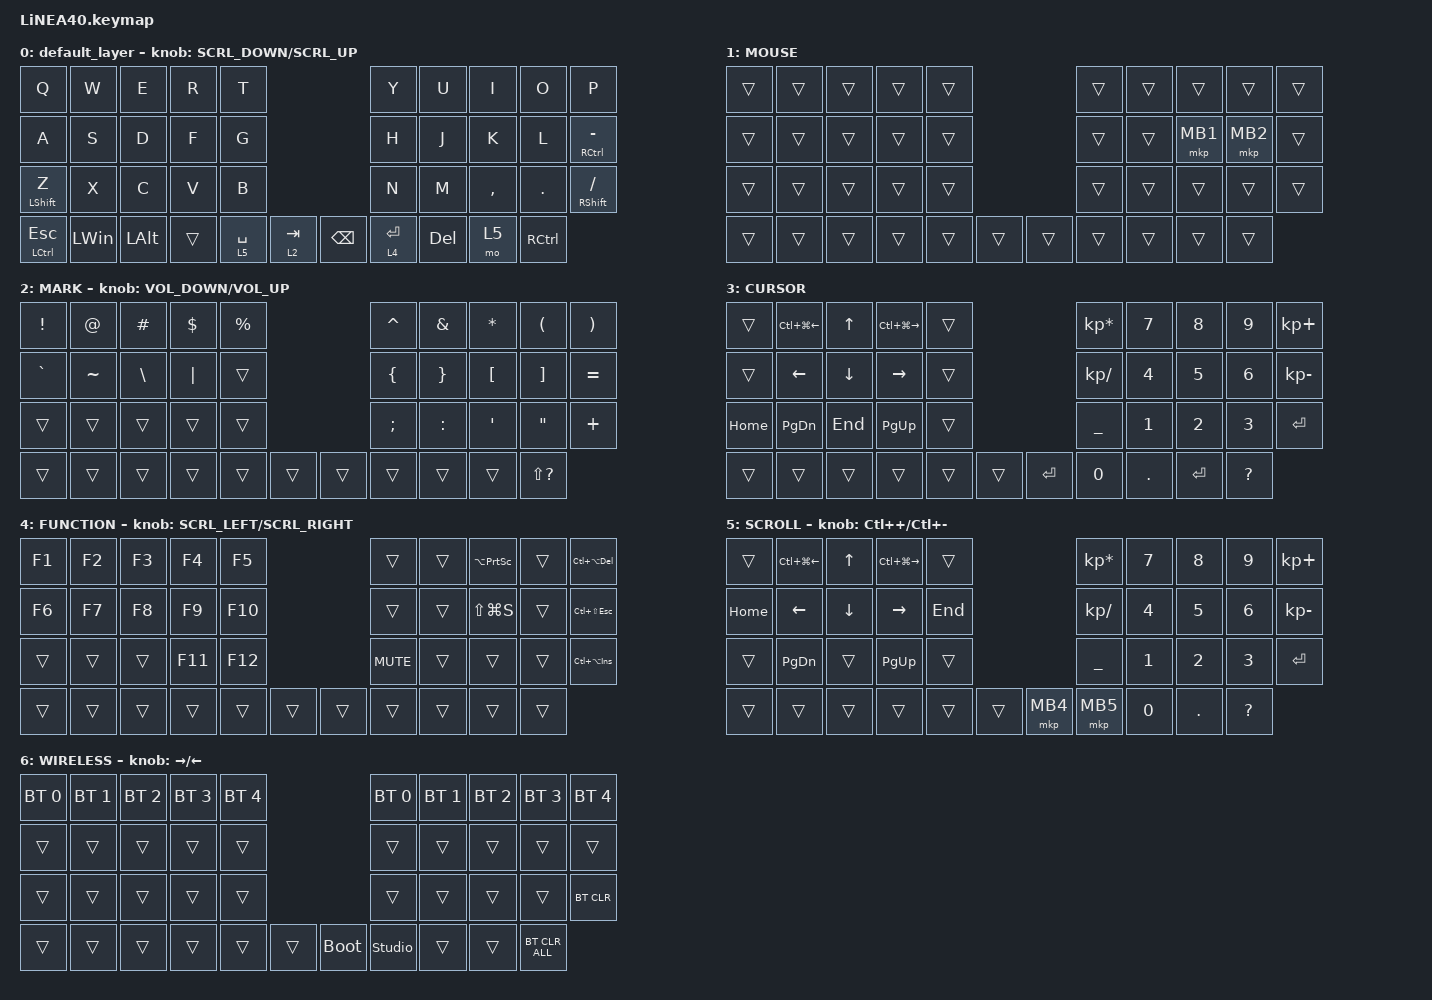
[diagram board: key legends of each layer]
#define ZMK_POINTING_DEFAULT_SCRL_VAL 150

#include <dt-bindings/zmk/input_transform.h>
#include <input/processors.dtsi>
#include <zephyr/dt-bindings/input/input-event-codes.h>
#include <behaviors.dtsi>
#include <dt-bindings/zmk/bt.h>
#include <dt-bindings/zmk/keys.h>
#include <dt-bindings/zmk/pointing.h>

#define MOUSE 1
#define MARK 2
#define CURSOR 3
#define FUNCTION 4
#define SCROLL 5
#define WIRELESS 6

//mouse cursol

&mmv {
    delay-ms = <20>;
    trigger-period-ms = <5>;
    time-to-max-speed-ms = <100>;
    acceleration-exponent = <2>;
};

//mouse scroll

&msc {
    delay-ms = <3>;
    trigger-period-ms = <3>;
    time-to-max-speed-ms = <100>;
    acceleration-exponent = <0>;
};

/ {
    input_processors {
        zip_wheel_scaler: zip_wheel_scaler {
            compatible = "zmk,input-processor-scaler";
            #input-processor-cells = <2>;
            type = <INPUT_EV_REL>;
            codes = <INPUT_REL_WHEEL>;
            track-remainders;
        };
    };
};

&msc_input_listener {
    speed_up {
        layers = <FUNCTION>;
        input-processors = <&zip_wheel_scaler 3 1>; //スクロールを3倍速にする
    };
};

&trackball_listener {
    scroller {
        layers = <SCROLL>;
        input-processors =
            <&zip_xy_transform INPUT_TRANSFORM_Y_INVERT>,
            //スクロール方向を逆転,,,,,,,,
            <&zip_xy_to_scroll_mapper>;
    };
};

/ {
    combos {
        compatible = "zmk,combos";

        ZenkakuHankaku {
            bindings = <&kp LA(GRAVE)>;
            key-positions = <11 12>;
            layers = <0>;
        };

        CenterClick {
            bindings = <&mkp MB3>;
            key-positions = <17 18>;
            layers = <1>;
        };

        Layer6 {
            bindings = <&mo 6>;
            key-positions = <35 36>;
            layers = <0>;
        };
    };

    behaviors {
        re_kp: sensor_rotate_kp {
            compatible = "zmk,behavior-sensor-rotate-var";
            #sensor-binding-cells = <2>;
            bindings = <&kp>, <&kp>;
        };

        mouse_scrl: mouse_wheel_scrl {
            compatible = "zmk,behavior-sensor-rotate-var";
            #sensor-binding-cells = <2>;
            bindings = <&msc>, <&msc>;

            tap-ms = <20>;
        };
    };

    keymap {
        compatible = "zmk,keymap";

        default_layer {
            bindings = <
&kp Q                 &kp W         &kp E         &kp R   &kp T                                    &kp Y        &kp U  &kp I       &kp O    &kp P
&kp A                 &kp S         &kp D         &kp F   &kp G                                    &kp H        &kp J  &kp K       &kp L    &mt RIGHT_CONTROL MINUS
&mt LSHFT Z           &kp X         &kp C         &kp V   &kp B                                    &kp N        &kp M  &kp COMMA   &kp DOT  &mt RIGHT_SHIFT SLASH
&mt LEFT_CONTROL ESC  &kp LEFT_WIN  &kp LEFT_ALT  &trans  &lt 5 SPACE  &lt 2 TAB    &kp BACKSPACE  &lt 4 ENTER         &kp DELETE  &mo 5    &kp RIGHT_CONTROL
            >;

            sensor-bindings = <&mouse_scrl SCRL_DOWN SCRL_UP>;
        };

        //1

        MOUSE {
            bindings = <
&trans  &trans  &trans  &trans  &trans                    &trans  &trans  &trans    &trans    &trans
&trans  &trans  &trans  &trans  &trans                    &trans  &trans  &mkp MB1  &mkp MB2  &trans
&trans  &trans  &trans  &trans  &trans                    &trans  &trans  &trans    &trans    &trans
&trans  &trans  &trans  &trans  &trans  &trans    &trans  &trans          &trans    &trans    &trans
            >;
        };

        //2

        MARK {
            bindings = <
&kp EXCLAMATION  &kp AT     &kp HASH       &kp DOLLAR  &kp PERCENT                    &kp CARET       &kp AMPERSAND    &kp ASTERISK      &kp LEFT_PARENTHESIS  &kp RIGHT_PARENTHESIS
&kp GRAVE        &kp TILDE  &kp BACKSLASH  &kp PIPE    &trans                         &kp LEFT_BRACE  &kp RIGHT_BRACE  &kp LEFT_BRACKET  &kp RIGHT_BRACKET     &kp EQUAL
&trans           &trans     &trans         &trans      &trans                         &kp SEMICOLON   &kp COLON        &kp SINGLE_QUOTE  &kp DOUBLE_QUOTES     &kp PLUS
&trans           &trans     &trans         &trans      &trans       &trans    &trans  &trans                           &trans            &trans                &kp LS(QUESTION)
            >;

            sensor-bindings = <&re_kp C_VOLUME_DOWN C_VOLUME_UP>;
        };

        //3

        CURSOR {
            bindings = <
&trans    &kp LC(LG(LEFT_ARROW))  &kp UP_ARROW  &kp LC(LG(RIGHT_ARROW))  &trans                       &kp KP_MULTIPLY  &kp NUMBER_7  &kp NUMBER_8  &kp NUMBER_9  &kp KP_PLUS
&trans    &kp LEFT_ARROW          &kp DOWN      &kp RIGHT_ARROW          &trans                       &kp KP_SLASH     &kp NUMBER_4  &kp NUMBER_5  &kp NUMBER_6  &kp KP_MINUS
&kp HOME  &kp PAGE_DOWN           &kp END       &kp PAGE_UP              &trans                       &kp UNDER        &kp NUMBER_1  &kp NUMBER_2  &kp NUMBER_3  &kp ENTER
&trans    &trans                  &trans        &trans                   &trans  &trans    &kp ENTER  &kp NUMBER_0                   &kp DOT       &kp ENTER     &kp QUESTION
            >;
        };

        //4

        FUNCTION {
            bindings = <
&kp F1  &kp F2  &kp F3  &kp F4   &kp F5                     &trans      &trans  &kp LA(PRINTSCREEN)  &trans  &kp LC(LA(DELETE))
&kp F6  &kp F7  &kp F8  &kp F9   &kp F10                    &trans      &trans  &kp LS(LG(S))        &trans  &kp LC(LS(ESCAPE))
&trans  &trans  &trans  &kp F11  &kp F12                    &kp C_MUTE  &trans  &trans               &trans  &kp LC(LA(INS))
&trans  &trans  &trans  &trans   &trans   &trans    &trans  &trans              &trans               &trans  &trans
            >;

            sensor-bindings = <&mouse_scrl SCRL_LEFT SCRL_RIGHT>;
        };

        //5

        SCROLL {
            bindings = <
&trans    &kp LC(LG(LEFT_ARROW))  &kp UP_ARROW  &kp LC(LG(RIGHT_ARROW))  &trans                       &kp KP_MULTIPLY  &kp NUMBER_7  &kp NUMBER_8  &kp NUMBER_9  &kp KP_PLUS
&kp HOME  &kp LEFT_ARROW          &kp DOWN      &kp RIGHT_ARROW          &kp END                      &kp KP_SLASH     &kp NUMBER_4  &kp NUMBER_5  &kp NUMBER_6  &kp KP_MINUS
&trans    &kp PAGE_DOWN           &trans        &kp PAGE_UP              &trans                       &kp UNDER        &kp NUMBER_1  &kp NUMBER_2  &kp NUMBER_3  &kp ENTER
&trans    &trans                  &trans        &trans                   &trans   &trans    &mkp MB4  &mkp MB5                       &kp NUMBER_0  &kp DOT       &kp QUESTION
            >;

            sensor-bindings = <&inc_dec_kp LC(PLUS) LC(MINUS)>;
        };

        //6

        WIRELESS {
            bindings = <
&bt BT_SEL 0  &bt BT_SEL 1  &bt BT_SEL 2  &bt BT_SEL 3  &bt BT_SEL 4                         &bt BT_SEL 0    &bt BT_SEL 1  &bt BT_SEL 2  &bt BT_SEL 3  &bt BT_SEL 4
&trans        &trans        &trans        &trans        &trans                               &trans          &trans        &trans        &trans        &trans
&trans        &trans        &trans        &trans        &trans                               &trans          &trans        &trans        &trans        &bt BT_CLR
&trans        &trans        &trans        &trans        &trans        &trans    &bootloader  &studio_unlock                &trans        &trans        &bt BT_CLR_ALL
            >;

            sensor-bindings = <&inc_dec_kp RIGHT_ARROW LEFT_ARROW>;
        };
    };
};
